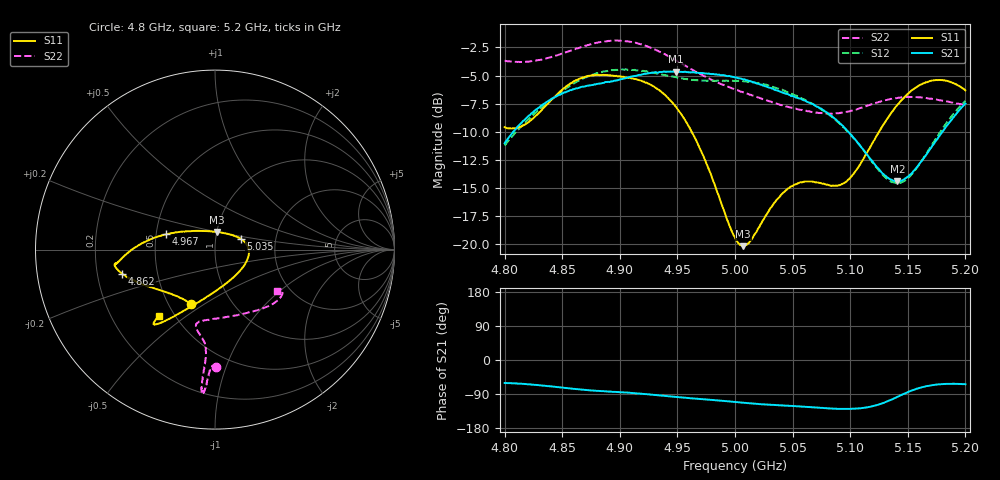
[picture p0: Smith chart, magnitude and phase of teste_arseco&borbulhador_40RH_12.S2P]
! Network Analyzer HP8722D
! Hewlett-Packard
! Data name: Linha & Wilkinson
! Saver's name: Rodrigo Anjos
! Comments: Teste da utilização de aquisição
! continua pelo VNA HP8722D
! Time and date: 15/4/2025 16:27
!  Frequency  S11  S21  S12  S22
# HZ  S  MA R 50
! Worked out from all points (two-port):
!   401 points, 4.8 GHz to 5.2 GHz, reference 50 ohm
!   highest |S21| = -4.64 dB at 4.949 GHz (marker M1); lowest = -14.4 dB at 5.141 GHz (marker M2)
!   |S21| within 3 dB of the highest: 4.832 GHz to 5.069 GHz (237 MHz wide, 4.79 % of centre); 5.198554 GHz to end of sweep
!   lowest |S11| = -20.2 dB at 5.007 GHz (marker M3), VSWR 1.22, Z = 50.1 + j9.88 ohm
!   |S11| at or under -10 dB: 4.962 GHz to 5.125 GHz (162.5 MHz wide, 3.22 % of centre)
!   |S22| runs from -8.4 to -1.9 dB; largest |S21 - S12| = 0.88
!   S11 on the Smith chart (normalised r, x): 4.8 GHz: 0.65, -0.44; 4.862 GHz: 0.31, -0.12; 4.967 GHz: 0.57, +0.10; 5.035 GHz: 1.32, +0.16; 5.2 GHz: 0.41, -0.40
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4.8e9  0.3316 -113.8  0.2814 -60.6  0.2752 -175.1  0.654 -89.5
4.819e9  0.3447 -133.5  0.3644 -63.6  0.3526 -173.2  0.648 -91.2
4.862e9  0.5359 -165.5  0.4936 -76.6  0.526 -176.3  0.7406 -93.5
4.867e9  0.5492 -167.5  0.5015 -78.1  0.5415 -177.3  0.7534 -93.6
4.9e9  0.5576 -172.1  0.5396 -85.0  0.5976 175.9  0.8033 -95.1
4.934e9  0.4855 -178.0  0.5818 -93.3  0.5737 172.1  0.7195 -95.5
4.949e9  0.4068 174.9  0.5861 -97.3  0.5519 172.3  0.6555 -95.3
4.967e9  0.2845 162.6  0.579 -102.1  0.5356 174.1  0.581 -94.9
5e9  0.1076 107.1  0.5513 -110.9  0.5333 176.6  0.4884 -99.3
5.007e9  0.09825 83.7  0.541 -112.6  0.5302 176.5  0.4738 -100.9
5.014e9  0.1045 61.3  0.5296 -114.6  0.5251 176.3  0.4616 -102.3
5.035e9  0.1549 23.0  0.4849 -119.0  0.497 175.3  0.4238 -103.8
5.05e9  0.1819 7.2  0.4564 -121.6  0.4646 174.5  0.4046 -100.3
5.067e9  0.1901 -11.1  0.4207 -124.7  0.4218 173.9  0.3866 -91.9
5.086e9  0.1819 -41.6  0.3644 -128.6  0.3616 173.8  0.382 -77.8
5.097e9  0.1907 -64.7  0.3217 -129.1  0.3204 174.5  0.3881 -68.6
5.134e9  0.373 -116.0  0.1955 -107.0  0.1922 -159.8  0.4412 -43.3
5.141e9  0.4169 -120.0  0.1904 -97.2  0.187 -148.9  0.4475 -40.2
5.153e9  0.4817 -124.8  0.2059 -81.0  0.2042 -130.2  0.4517 -35.9
5.17e9  0.5328 -128.5  0.2674 -67.0  0.2722 -113.1  0.4441 -32.1
5.184e9  0.5327 -129.9  0.3376 -63.0  0.3488 -107.2  0.4313 -31.0
5.2e9  0.4833 -130.3  0.4223 -63.9  0.4337 -106.0  0.4157 -33.3
